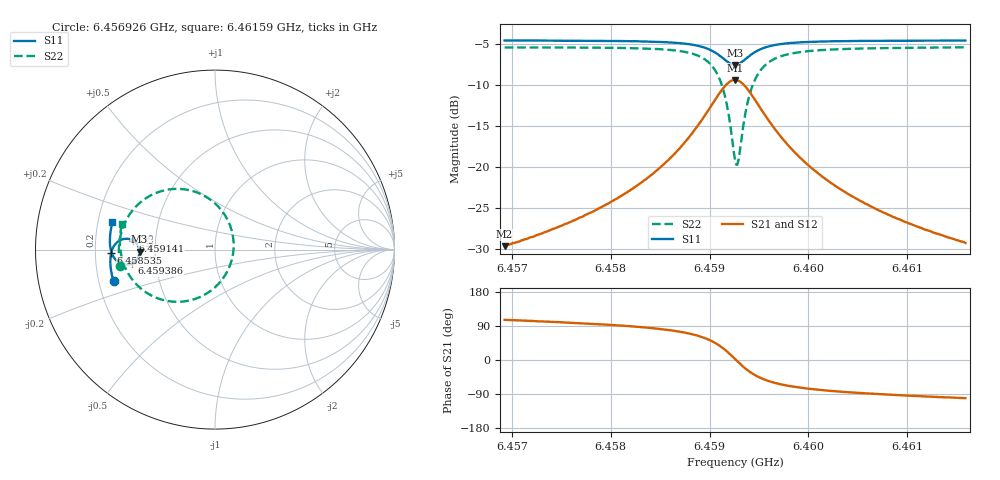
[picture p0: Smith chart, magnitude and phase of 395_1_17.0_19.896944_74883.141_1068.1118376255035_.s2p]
#  HZ  S  RI  R  50.00
! Rohde & Schwarz Vector Network Analyzer
! Rohde-Schwarz,ZNB20-2Port,1311601062101988,3.16
! Created: UTC 3/20/2024, 11:09:48 PM
! freq[Hz]  re:S11  im:S11  re:S21  im:S21  re:S12  im:S12  re:S22  im:S22
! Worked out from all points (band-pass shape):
!   401 points, 6.456926 GHz to 6.46159 GHz, reference 50 ohm
!   highest |S21| = -9.37 dB at 6.459258 GHz (marker M1); lowest = -29.6 dB at 6.456926 GHz (marker M2)
!   |S21| within 3 dB of the highest: 6.459025 GHz to 6.459491 GHz (466.3 kHz wide, 0.00722 % of centre)
!   lowest |S11| = -7.5 dB at 6.459258 GHz (marker M3), VSWR 2.45, Z = 20.4 - j0.562 ohm
!   |S11| at or under -10 dB: nowhere
!   |S22| runs from -19.7 to -5.4 dB; largest |S21 - S12| = 0.013
!   S11 on the Smith chart (normalised r, x): 6.456926 GHz: 0.26, -0.14; 6.458535 GHz: 0.27, -0.01; 6.459141 GHz: 0.37, +0.05; 6.459386 GHz: 0.36, -0.07; 6.46159 GHz: 0.26, +0.12
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6.4569256e9  -0.5654 -0.1762  -0.00907 0.0317  -0.00738 0.0318  -0.5292 -0.0892
6.457707e9  -0.5802 -0.1082  -0.00594 0.0494  -0.00338 0.049  -0.5356 0.000916
6.4581384e9  -0.5833 -0.0653  -7.64e-05 0.0687  0.00297 0.0675  -0.5283 0.0682
6.4584883e9  -0.5799 -0.0237  0.0134 0.0974  0.0173 0.0946  -0.504 0.1457
6.4585349e9  -0.5785 -0.0175  0.0165 0.1026  0.0207 0.0997  -0.4978 0.1587
6.4587448e9  -0.5665 0.0143  0.0422 0.134  0.0464 0.1293  -0.45 0.2297
6.4588964e9  -0.5456 0.0407  0.0841 0.1641  0.0876 0.1577  -0.3729 0.2938
6.459048e9  -0.5 0.0603  0.1747 0.1832  0.1757 0.1759  -0.2077 0.3383
6.4591413e9  -0.456 0.0505  0.2635 0.153  0.2636 0.1471  -0.0433 0.2902
6.459188e9  -0.4351 0.0321  0.3067 0.1109  0.3079 0.1057  0.0388 0.2155
6.4592579e9  -0.4204 -0.0113  0.3399 0.0154  0.3434 0.00864  0.1038 0.0388
6.4592813e9  -0.4221 -0.027  0.3381 -0.0195  0.3418 -0.0275  0.1 -0.0268
6.4592929e9  -0.4243 -0.0346  0.3345 -0.0363  0.3383 -0.0451  0.0931 -0.0589
6.4593396e9  -0.4396 -0.0602  0.3066 -0.0955  0.3088 -0.107  0.0371 -0.1706
6.4593862e9  -0.4613 -0.0763  0.2654 -0.136  0.2645 -0.1489  -0.0462 -0.2446
6.4594795e9  -0.5041 -0.0829  0.182 -0.1671  0.176 -0.1783  -0.2119 -0.2908
6.4596311e9  -0.5473 -0.0624  0.0953 -0.1538  0.087 -0.1599  -0.377 -0.2431
6.4597944e9  -0.5687 -0.0348  0.0511 -0.1265  0.0436 -0.1292  -0.4566 -0.1724
6.4600392e9  -0.5811 0.000734  0.0221 -0.0956  0.0165 -0.0962  -0.5043 -0.0911
6.4603658e9  -0.5855 0.0394  0.00697 -0.0706  0.00293 -0.0701  -0.5249 -0.0172
6.4608206e9  -0.5836 0.085  -0.00131 -0.051  -0.00406 -0.0502  -0.5299 0.055
6.4615902e9  -0.5711 0.1529  -0.00637 -0.0339  -0.0081 -0.0331  -0.5185 0.1449
